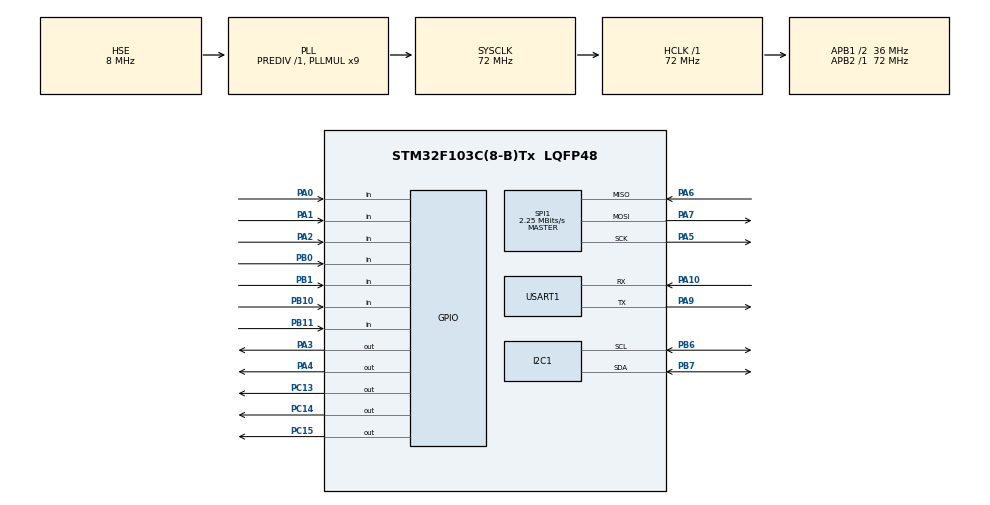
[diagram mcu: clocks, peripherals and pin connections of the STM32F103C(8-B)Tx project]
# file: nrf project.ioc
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I2C1.I2C_Mode=I2C_Standard
Mcu.Family=STM32F1
Mcu.Name=STM32F103C(8-B)Tx
Mcu.Package=LQFP48
NVIC.PriorityGroup=NVIC_PRIORITYGROUP_4
NVIC.USART1_IRQn=true\:0\:0\:false\:false\:true\:true\:true
PA0-WKUP.GPIO_PuPd=GPIO_PULLDOWN
PA0-WKUP.Signal=GPIO_Input
PA1.GPIO_PuPd=GPIO_PULLDOWN
PA1.Signal=GPIO_Input
PA10.Mode=Asynchronous
PA10.Signal=USART1_RX
PA13.Mode=JTAG_4_pins
PA13.Signal=SYS_JTMS-SWDIO
PA14.Mode=JTAG_4_pins
PA14.Signal=SYS_JTCK-SWCLK
PA15.Mode=JTAG_4_pins
PA15.Signal=SYS_JTDI
PA2.GPIO_PuPd=GPIO_PULLDOWN
PA2.Signal=GPIO_Input
PA3.GPIO_PuPd=GPIO_PULLDOWN
PA3.GPIO_Speed=GPIO_SPEED_FREQ_HIGH
PA3.Signal=GPIO_Output
PA4.GPIO_PuPd=GPIO_PULLDOWN
PA4.GPIO_Speed=GPIO_SPEED_FREQ_HIGH
PA4.Signal=GPIO_Output
PA5.Mode=Full_Duplex_Master
PA5.Signal=SPI1_SCK
PA6.Mode=Full_Duplex_Master
PA6.Signal=SPI1_MISO
PA7.Mode=Full_Duplex_Master
PA7.Signal=SPI1_MOSI
PA9.Mode=Asynchronous
PA9.Signal=USART1_TX
PB0.GPIO_PuPd=GPIO_PULLUP
PB0.Signal=GPIO_Input
PB1.GPIO_PuPd=GPIO_PULLUP
PB1.Signal=GPIO_Input
PB10.GPIO_PuPd=GPIO_PULLUP
PB10.Signal=GPIO_Input
PB11.GPIO_PuPd=GPIO_PULLUP
PB11.Signal=GPIO_Input
PB3.Mode=JTAG_4_pins
PB3.Signal=SYS_JTDO-TRACESWO
PB6.Mode=I2C
PB6.Signal=I2C1_SCL
PB7.Mode=I2C
PB7.Signal=I2C1_SDA
PC13-TAMPER-RTC.Signal=GPIO_Output
PC14-OSC32_IN.GPIO_PuPd=GPIO_PULLDOWN
PC14-OSC32_IN.Signal=GPIO_Output
PC15-OSC32_OUT.GPIO_PuPd=GPIO_PULLDOWN
PC15-OSC32_OUT.Signal=GPIO_Output
PD0-OSC_IN.Mode=HSE-External-Oscillator
PD0-OSC_IN.Signal=RCC_OSC_IN
PD1-OSC_OUT.Mode=HSE-External-Oscillator
PD1-OSC_OUT.Signal=RCC_OSC_OUT
ProjectManager.HeapSize=0x200
ProjectManager.StackSize=0x400
ProjectManager.TargetToolchain=MDK-ARM V5.32
RCC.AHBFreq_Value=72000000
RCC.APB1CLKDivider=RCC_HCLK_DIV2
RCC.APB1Freq_Value=36000000
RCC.APB1TimFreq_Value=72000000
RCC.APB2Freq_Value=72000000
RCC.APB2TimFreq_Value=72000000
RCC.HCLKFreq_Value=72000000
RCC.HSICalibrationValue=8
RCC.PLLMUL=RCC_PLL_MUL9
RCC.PLLSourceVirtual=RCC_PLLSOURCE_HSE
RCC.SYSCLKFreq_VALUE=72000000
RCC.SYSCLKSource=RCC_SYSCLKSOURCE_PLLCLK
RCC.USBFreq_Value=72000000
SPI1.BaudRatePrescaler=SPI_BAUDRATEPRESCALER_32
SPI1.CalculateBaudRate=2.25 MBits/s
SPI1.Direction=SPI_DIRECTION_2LINES
SPI1.Mode=SPI_MODE_MASTER
SPI1.VirtualType=VM_MASTER
USART1.VirtualMode=VM_ASYNC
board=custom

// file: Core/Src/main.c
/* USER CODE BEGIN Header */
/**
  ******************************************************************************
  * @file           : main.c
  * @brief          : Main program body
  ******************************************************************************
  * @attention
  *
  * Copyright (c) 2022 STMicroelectronics.
  * All rights reserved.
  *
  * This software is licensed under terms that can be found in the LICENSE file
  * in the root directory of this software component.
  * If no LICENSE file comes with this software, it is provided AS-IS.
  *
  ******************************************************************************
  */
/* USER CODE END Header */
#include "main.h"

/* USER CODE BEGIN Includes */
#include <cstring>
#include "ssd1306.h"
#include "fonts.h"
#include <stdio.h>
#include <stdbool.h>
#include "display.h"
#include "RF24.h"
#include "focusButton.h"
#include "function.h"
#include "main.h"
#include "leftButtonPress.h"
#include "rightButtonPress.h"
/* USER CODE END Includes */

I2C_HandleTypeDef hi2c1;

SPI_HandleTypeDef hspi1;

UART_HandleTypeDef huart1;

void SystemClock_Config(void);
static void MX_GPIO_Init(void);
static void MX_I2C1_Init(void);
static void MX_SPI1_Init(void);
static void MX_USART1_UART_Init(void);
/* USER CODE BEGIN PFP */

int function=0, photoCol=0, pauseTime=0, focusTime=0, total=0;
char rightButtonText[] = "connect";
char leftButtonText[] = "menu";
bool LCDTrue=0, nrfInit=0, pultConnected=0;

const uint64_t pipe1 = 0xE8E8F0F0E2LL;
/* USER CODE END PFP */

/* USER CODE BEGIN 0 */
void workedFunction (int buffer)
{
	function=buffer;
	if (function == 0)
	{
		uartSend ("camera not connected\r\n");
		strcpy(leftButtonText, "menu");
		strcpy(rightButtonText, "focus");
		clearCentralBox();
		centralBoxText("camera not connected", 0, 20);
		ssd1306_UpdateScreen(&hi2c1);
	}
	if (function == 1)
	{
		uartSend ("one shoot mode\r\n");
		strcpy(leftButtonText, "menu");
		strcpy(rightButtonText, "focus");
		clearCentralBox();
		centralBoxText("one shoot mode", 0, 14);
		setFunction(1);
		ssd1306_UpdateScreen(&hi2c1);
	}
	if (function == 2)
	{
		uartSend ("focus\r\n");
		strcpy(leftButtonText, "cancel");
		strcpy(rightButtonText, "shoot");
		centralBoxText("focus", 1, 5);
		setFunction(2);
		ssd1306_UpdateScreen(&hi2c1);
	}
	if (function == 3)
	{
		uartSend ("photo\r\n");
		photoCol++;
		photoCounter(photoCol);
		char local[20];
		sprintf (local, "total photos: %d\r\n", photoCol);
		uartSend (local);
		uartSendInt (photoCol);
		shootButtonIcon(0);
		ssd1306_UpdateScreen(&hi2c1);
		setFunction(3);
	}
	if (function == 10)
	{
		scrollBar(6,0);
		strcpy(leftButtonText, "down");
		strcpy(rightButtonText, "ok");
		leftButtonName(leftButtonText);
		rightButtonName(rightButtonText);
		uartSend ("menu opened\r\n1. one shoot\r\n2. endless\r\n");
		uartSend ("3. limited\r\n4. wireless\r\n5. about\r\n6. back\r\n");
		ssd1306_UpdateScreen(&hi2c1);
	}
	if (function == 11)
	{
		scrollBar(6,1);
		strcpy(leftButtonText, "down");
		strcpy(rightButtonText, "ok");
		leftButtonName(leftButtonText);
		rightButtonName(rightButtonText);
		ssd1306_UpdateScreen(&hi2c1);
	}
	if (function == 12)
	{
		scrollBar(6,2);
		strcpy(leftButtonText, "down");
		strcpy(rightButtonText, "ok");
		leftButtonName(leftButtonText);
		rightButtonName(rightButtonText);
		ssd1306_UpdateScreen(&hi2c1);
	}
	if (function == 13)
	{
		scrollBar(6,3);
		strcpy(leftButtonText, "down");
		strcpy(rightButtonText, "ok");
		leftButtonName(leftButtonText);
		rightButtonName(rightButtonText);
		ssd1306_UpdateScreen(&hi2c1);
	}
	if (function == 14)
	{
		scrollBar(6,4);
		strcpy(leftButtonText, "down");
		strcpy(rightButtonText, "ok");
		leftButtonName(leftButtonText);
		rightButtonName(rightButtonText);
		ssd1306_UpdateScreen(&hi2c1);
	}
	if (function == 15)
	{
		scrollBar(6,5);
		strcpy(leftButtonText, "down");
		strcpy(rightButtonText, "ok");
		leftButtonName(leftButtonText);
		rightButtonName(rightButtonText);
		ssd1306_UpdateScreen(&hi2c1);
	}

	if (function == 20)													//endless start
	{
		scrollBar(1,0);
		photoCounter(photoCol);
		strcpy(leftButtonText, "menu");
		leftButtonName(leftButtonText);
		strcpy(rightButtonText, "settings");
		rightButtonName(rightButtonText);
		clearCentralBox();
		centralBoxText("endless", 0, 7);
		centralBoxText("mode", 1, 4);
		ssd1306_UpdateScreen(&hi2c1);
		strcpy(leftButtonText, "menu");
	}

	if (function == 21)													//endless start
	{
		scrollBar(1,0);
		strcpy(leftButtonText, "up");
		leftButtonName(leftButtonText);
		strcpy(rightButtonText, "ok");
		rightButtonName(rightButtonText);
		centralBoxText("pause time", 0, 10);
		pauseTime=checkingNum(1, 1000);
		centralBoxText("focus time", 0, 10);
		focusTime=checkingNum(1, 500);
		clearCentralBox();
		centralBoxText("start?", 0, 6);
		strcpy(leftButtonText, "no");
		strcpy(rightButtonText, "yes");
		rightButtonName(rightButtonText);
		leftButtonName(leftButtonText);
		ssd1306_UpdateScreen(&hi2c1);
	}

	if (function == 22)
	{
		strcpy(leftButtonText, "cancel");
		leftButtonName(leftButtonText);
		strcpy(rightButtonText, "  ");
		rightButtonName(rightButtonText);
		char buf[11]="pause    0\0";
		int set=pauseTime, i=0;
		while (set>0)
		{
			buf[9-i]=set%10+'0';
			set/=10;
			i++;
		}
		centralBoxText(buf, 0, 10);
		char buf1[11]="focus    0\0";
		set=focusTime;
		i=0;
		while (set>0)
		{
			buf1[9-i]=set%10+'0';
			set/=10;
			i++;
		}
		centralBoxText(buf1, 1, 10);
		ssd1306_UpdateScreen(&hi2c1);
		photoCol+=endlessMode(pauseTime, focusTime, 0);
		setFunction(20);
	}
	if (function == 30)													//limited start
	{
		scrollBar(3,0);
		strcpy(leftButtonText, "menu");
		leftButtonName(leftButtonText);
		strcpy(rightButtonText, "settings");
		rightButtonName(rightButtonText);
		clearCentralBox();
		centralBoxText("limited", 0, 7);
		centralBoxText("mode", 1, 4);
		ssd1306_UpdateScreen(&hi2c1);
		strcpy(leftButtonText, "menu");
	}
	if (function == 31)													//limited start
	{
		scrollBar(1,0);
		strcpy(leftButtonText, "up");
		leftButtonName(leftButtonText);
		strcpy(rightButtonText, "ok");
		rightButtonName(rightButtonText);
		scrollBar(3,0);
		centralBoxText("pause time", 0, 10);
		pauseTime=checkingNum(1, 1000);
		scrollBar(3,1);
		centralBoxText("focus time", 0, 10);
		focusTime=checkingNum(1, 500);
		scrollBar(3,2);
		clearCentralBox();
		centralBoxText("total", 0, 5);
		total=checkingNum(1, 0);
		clearCentralBox();
		centralBoxText("start?", 0, 6);
		strcpy(leftButtonText, "no");
		strcpy(rightButtonText, "yes");
		rightButtonName(rightButtonText);
		leftButtonName(leftButtonText);
		ssd1306_UpdateScreen(&hi2c1);
		if (total==0) setFunction(31);
	}
		if (function == 32)
	{
		strcpy(leftButtonText, "cancel");
		leftButtonName(leftButtonText);
		strcpy(rightButtonText, "  ");
		rightButtonName(rightButtonText);
		clearCentralBox();
		ssd1306_UpdateScreen(&hi2c1);
		photoCol+=endlessMode(pauseTime, focusTime, total);
		setFunction(30);
	}
	if (function == 40)													//wireles start
	{
		strcpy(leftButtonText, "down");
		leftButtonName(leftButtonText);
		strcpy(rightButtonText, "ok");
		rightButtonName(rightButtonText);
		clearCentralBox();
		leftButtonPress(function);
		strcpy(leftButtonText, "down");
		return;
	}
	if (function == 41)
	{
		scrollBar(4+pultConnected,0);
		ssd1306_UpdateScreen(&hi2c1);
		return;
	}
	if (function == 42)
	{
		scrollBar(4+pultConnected,1);
		ssd1306_UpdateScreen(&hi2c1);
		return;
	}
	if (function == 43)
	{
		if (pultConnected) function = 44;
		scrollBar(4+pultConnected,2);
		ssd1306_UpdateScreen(&hi2c1);
		return;
	}
	if (function == 44)
	{
		function=46;
		scrollBar(4+pultConnected,2);
		ssd1306_UpdateScreen(&hi2c1);
		return;
	}
	if (function == 45)
	{
		scrollBar(4+pultConnected,3);
		ssd1306_UpdateScreen(&hi2c1);
		return;
	}
	if (function == 46)
	{
		scrollBar(4+pultConnected,3+pultConnected);
		ssd1306_UpdateScreen(&hi2c1);
		return;
	}
	if (function == 50)
	{
		scrollBar(1,0);
		strcpy(rightButtonText, "  ");
		rightButtonName(rightButtonText);
		strcpy(leftButtonText, "menu");
		leftButtonName(leftButtonText);
		clearCentralBox();
		ssd1306_SetCursor(0,9);
		ssd1306_WriteString("tube adres:", Font_7x10, White);
		ssd1306_SetCursor(0,19);
		char id[15]="0x000000000000";
		hexToAsciiForSend(pipe1, id);
		ssd1306_WriteString(id, Font_7x10, White);
		ssd1306_SetCursor(0,29);
		if (nrfInit) ssd1306_WriteString("NRF24 OK", Font_7x10, White);
		else ssd1306_WriteString("NRF24 NOT OK", Font_7x10, White);
		ssd1306_SetCursor(0,39);
		if (checkPhoto()) ssd1306_WriteString("PHOTO OK", Font_7x10, White);
		else ssd1306_WriteString("PHOTO NOT OK", Font_7x10, White);
		ssd1306_UpdateScreen(&hi2c1);
	}
	if (function == WIRELESSSET*100+1)
	{
		strcpy(rightButtonText, "start");
		rightButtonName(rightButtonText);
		strcpy(leftButtonText, "back");
		leftButtonName(leftButtonText);
		ssd1306_UpdateScreen(&hi2c1);
	}
}

void uartOffSend (uint8_t *buf, int col)
{
	HAL_UART_Transmit(&huart1, buf, col, 0xFFFF);
}

void updateScreen(void)
{
		ssd1306_UpdateScreen(&hi2c1);
}
/* USER CODE END 0 */

int main(void)
{

  /* MCU Configuration--------------------------------------------------------*/

  /* Reset of all peripherals, Initializes the Flash interface and the Systick. */
  HAL_Init();

  /* Configure the system clock */
  SystemClock_Config();

  /* Initialize all configured peripherals */
  MX_GPIO_Init();
  MX_I2C1_Init();
  MX_SPI1_Init();
  MX_USART1_UART_Init();
  /* USER CODE BEGIN 2 */
		HAL_GPIO_WritePin(GPIOC, GPIO_PIN_14, GPIO_PIN_SET);
		HAL_GPIO_WritePin(GPIOC, GPIO_PIN_15, GPIO_PIN_SET);
	HAL_UART_Transmit(&huart1, "Hello world\r\n", 13, 0xFFFF);
	int setter = ssd1306_Init(&hi2c1);
	bool photoStat=0;
	if (setter == 0) {
		HAL_Delay(1000);
		HAL_UART_Transmit(&huart1, "Sucsessfull\r\n", 13, 0xFFFF);
		ssd1306_Fill(Black);
		ssd1306_UpdateScreen(&hi2c1);

		/*HAL_Delay(1000);
		ssd1306_SetCursor(0, 0);
		ssd1306_WriteString("Hello world", Font_11x18, White);
		ssd1306_SetCursor(0, 36);
		ssd1306_WriteString("toxa", Font_11x18, White);
*/
		// Draw rectangle on screen
		/*for (uint8_t i=0; i<28; i++) {
      for (uint8_t j=0; j<64; j++) {
          ssd1306_DrawPixel(100+i, 0+j, White);
      }
		}*/

		// Copy all data from local screenbuffer to the screen

		//ssd1306_UpdateScreen(&hi2c1);
		ssd1306_Clear();
		ssd1306_UpdateScreen(&hi2c1);
		startPage();
		ssd1306_UpdateScreen(&hi2c1);
		HAL_Delay(500);
		ssd1306_Clear();
		startTable();
		ssd1306_UpdateScreen(&hi2c1);
		if (checkPhoto())
		{
			ssd1306_SetCursor(0, 9);
			ssd1306_WriteString("true", Font_11x18, White);
			photoStat = 1;
		}
		else{
			ssd1306_SetCursor(0, 9);
			ssd1306_WriteString("false", Font_11x18, White);
		}

		//инициализация и проверка nrf24

		DWT_Init(); // счётчик для микросекундных пауз

		uint8_t res = isChipConnected(); // проверяет подключён ли модуль к SPI

		char str[64] = {0,};
		snprintf(str, 64, "Connected: %s\n", 1 ? "OK" : "NOT OK");
		ssd1306_SetCursor(0, 9);
		ssd1306_WriteString(str, Font_7x10, White);
		//HAL_UART_Transmit(&huart1, (uint8_t*)str, strlen(str), 1000);

		res = NRF_Init(); // инициализация

		snprintf(str, 64, "Init: %s\n", res > 0 && res < 255 ? "OK" : "NOT OK");
		//HAL_UART_Transmit(&huart1, (uint8_t*)str, strlen(str), 1000);
		ssd1306_SetCursor(0, 19);
		ssd1306_WriteString(str, Font_7x10, White);

		if (res > 0 && res < 255)
		{
			nrfState(true);
			nrfInit=1;
		}
		else nrfState(false);
		ssd1306_UpdateScreen(&hi2c1);
		HAL_Delay(500);
		LCDTrue=1;
	}
	else {

		HAL_UART_Transmit(&huart1, "Fail!!!\r\n", 9, 0xFFFF);
	}

  /* USER CODE END 2 */

  /* Infinite loop */
  /* USER CODE BEGIN WHILE */
	clearCentralBox();
	if (photoStat == 0)
	{
		centralBoxText("camera not connected", 0, 20);
		rightButtonName(rightButtonText);
	}
	else{
		workedFunction(1);
	}
	photoCounter(0);
	ssd1306_UpdateScreen(&hi2c1);
	bool press=0, pressL=0;
  while (1)
  {
		if (!HAL_GPIO_ReadPin(GPIOB, GPIO_PIN_1))
		{
			ssd1306_InvertColors();
			rightButtonName(rightButtonText);
			ssd1306_UpdateScreen(&hi2c1);
			ssd1306_InvertColors();
			press=1;
		}
		if (HAL_GPIO_ReadPin(GPIOB, GPIO_PIN_1))
		{
			rightButtonName(rightButtonText);
			ssd1306_UpdateScreen(&hi2c1);
			if (press)
			{
				press=0;
				rightButtonPress(function);
			}
		}
		if (!HAL_GPIO_ReadPin(GPIOB, GPIO_PIN_0))
		{
			ssd1306_InvertColors();
			leftButtonName(leftButtonText);
			ssd1306_UpdateScreen(&hi2c1);
			ssd1306_InvertColors();
			pressL=1;
		}
		if (HAL_GPIO_ReadPin(GPIOB, GPIO_PIN_0))
		{
			leftButtonName(leftButtonText);
			ssd1306_UpdateScreen(&hi2c1);
			if (pressL)
			{
				pressL=0;
				leftButtonPress(function);
			}
		}
		photoStat = checkPhoto();
		ssd1306_UpdateScreen(&hi2c1);
		if (!press || !pressL) HAL_GPIO_WritePin(GPIOC, GPIO_PIN_13, SET);
		else HAL_GPIO_WritePin(GPIOC, GPIO_PIN_13, RESET);
    /* USER CODE END WHILE */

  }
}

void SystemClock_Config(void)
{
  RCC_OscInitTypeDef RCC_OscInitStruct = {0};
  RCC_ClkInitTypeDef RCC_ClkInitStruct = {0};

  /** Initializes the RCC Oscillators according to the specified parameters
  * in the RCC_OscInitTypeDef structure.
  */
  RCC_OscInitStruct.OscillatorType = RCC_OSCILLATORTYPE_HSE;
  RCC_OscInitStruct.HSEState = RCC_HSE_ON;
  RCC_OscInitStruct.HSEPredivValue = RCC_HSE_PREDIV_DIV1;
  RCC_OscInitStruct.HSIState = RCC_HSI_ON;
  RCC_OscInitStruct.PLL.PLLState = RCC_PLL_ON;
  RCC_OscInitStruct.PLL.PLLSource = RCC_PLLSOURCE_HSE;
  RCC_OscInitStruct.PLL.PLLMUL = RCC_PLL_MUL9;
  if (HAL_RCC_OscConfig(&RCC_OscInitStruct) != HAL_OK)
  {
    Error_Handler();
  }
  /** Initializes the CPU, AHB and APB buses clocks
  */
  RCC_ClkInitStruct.ClockType = RCC_CLOCKTYPE_HCLK|RCC_CLOCKTYPE_SYSCLK
                              |RCC_CLOCKTYPE_PCLK1|RCC_CLOCKTYPE_PCLK2;
  RCC_ClkInitStruct.SYSCLKSource = RCC_SYSCLKSOURCE_PLLCLK;
  RCC_ClkInitStruct.AHBCLKDivider = RCC_SYSCLK_DIV1;
  RCC_ClkInitStruct.APB1CLKDivider = RCC_HCLK_DIV2;
  RCC_ClkInitStruct.APB2CLKDivider = RCC_HCLK_DIV1;

  if (HAL_RCC_ClockConfig(&RCC_ClkInitStruct, FLASH_LATENCY_2) != HAL_OK)
  {
    Error_Handler();
  }
}

static void MX_I2C1_Init(void)
{

  hi2c1.Instance = I2C1;
  hi2c1.Init.ClockSpeed = 100000;
  hi2c1.Init.DutyCycle = I2C_DUTYCYCLE_2;
  hi2c1.Init.OwnAddress1 = 0;
  hi2c1.Init.AddressingMode = I2C_ADDRESSINGMODE_7BIT;
  hi2c1.Init.DualAddressMode = I2C_DUALADDRESS_DISABLE;
  hi2c1.Init.OwnAddress2 = 0;
  hi2c1.Init.GeneralCallMode = I2C_GENERALCALL_DISABLE;
  hi2c1.Init.NoStretchMode = I2C_NOSTRETCH_DISABLE;
  if (HAL_I2C_Init(&hi2c1) != HAL_OK)
  {
    Error_Handler();
  }

}

static void MX_SPI1_Init(void)
{

  /* SPI1 parameter configuration*/
  hspi1.Instance = SPI1;
  hspi1.Init.Mode = SPI_MODE_MASTER;
  hspi1.Init.Direction = SPI_DIRECTION_2LINES;
  hspi1.Init.DataSize = SPI_DATASIZE_8BIT;
  hspi1.Init.CLKPolarity = SPI_POLARITY_LOW;
  hspi1.Init.CLKPhase = SPI_PHASE_1EDGE;
  hspi1.Init.NSS = SPI_NSS_SOFT;
  hspi1.Init.BaudRatePrescaler = SPI_BAUDRATEPRESCALER_32;
  hspi1.Init.FirstBit = SPI_FIRSTBIT_MSB;
  hspi1.Init.TIMode = SPI_TIMODE_DISABLE;
  hspi1.Init.CRCCalculation = SPI_CRCCALCULATION_DISABLE;
  hspi1.Init.CRCPolynomial = 10;
  if (HAL_SPI_Init(&hspi1) != HAL_OK)
  {
    Error_Handler();
  }

}

static void MX_USART1_UART_Init(void)
{

  huart1.Instance = USART1;
  huart1.Init.BaudRate = 115200;
  huart1.Init.WordLength = UART_WORDLENGTH_8B;
  huart1.Init.StopBits = UART_STOPBITS_1;
  huart1.Init.Parity = UART_PARITY_NONE;
  huart1.Init.Mode = UART_MODE_TX_RX;
  huart1.Init.HwFlowCtl = UART_HWCONTROL_NONE;
  huart1.Init.OverSampling = UART_OVERSAMPLING_16;
  if (HAL_UART_Init(&huart1) != HAL_OK)
  {
    Error_Handler();
  }

}

static void MX_GPIO_Init(void)
{
  GPIO_InitTypeDef GPIO_InitStruct = {0};

  /* GPIO Ports Clock Enable */
  __HAL_RCC_GPIOC_CLK_ENABLE();
  __HAL_RCC_GPIOD_CLK_ENABLE();
  __HAL_RCC_GPIOA_CLK_ENABLE();
  __HAL_RCC_GPIOB_CLK_ENABLE();

  /*Configure GPIO pin Output Level */
  HAL_GPIO_WritePin(GPIOC, GPIO_PIN_13|GPIO_PIN_14|GPIO_PIN_15, GPIO_PIN_RESET);

  /*Configure GPIO pin Output Level */
  HAL_GPIO_WritePin(GPIOA, GPIO_PIN_3|GPIO_PIN_4, GPIO_PIN_RESET);

  /*Configure GPIO pin : PC13 */
  GPIO_InitStruct.Pin = GPIO_PIN_13;
  GPIO_InitStruct.Mode = GPIO_MODE_OUTPUT_PP;
  GPIO_InitStruct.Pull = GPIO_NOPULL;
  GPIO_InitStruct.Speed = GPIO_SPEED_FREQ_LOW;
  HAL_GPIO_Init(GPIOC, &GPIO_InitStruct);

  /*Configure GPIO pins : PC14 PC15 */
  GPIO_InitStruct.Pin = GPIO_PIN_14|GPIO_PIN_15;
  GPIO_InitStruct.Mode = GPIO_MODE_OUTPUT_PP;
  GPIO_InitStruct.Pull = GPIO_PULLDOWN;
  GPIO_InitStruct.Speed = GPIO_SPEED_FREQ_LOW;
  HAL_GPIO_Init(GPIOC, &GPIO_InitStruct);

  /*Configure GPIO pins : PA0 PA1 PA2 */
  GPIO_InitStruct.Pin = GPIO_PIN_0|GPIO_PIN_1|GPIO_PIN_2;
  GPIO_InitStruct.Mode = GPIO_MODE_INPUT;
  GPIO_InitStruct.Pull = GPIO_PULLDOWN;
  HAL_GPIO_Init(GPIOA, &GPIO_InitStruct);

  /*Configure GPIO pins : PA3 PA4 */
  GPIO_InitStruct.Pin = GPIO_PIN_3|GPIO_PIN_4;
  GPIO_InitStruct.Mode = GPIO_MODE_OUTPUT_PP;
  GPIO_InitStruct.Pull = GPIO_PULLDOWN;
  GPIO_InitStruct.Speed = GPIO_SPEED_FREQ_HIGH;
  HAL_GPIO_Init(GPIOA, &GPIO_InitStruct);

  /*Configure GPIO pins : PB0 PB1 PB10 PB11 */
  GPIO_InitStruct.Pin = GPIO_PIN_0|GPIO_PIN_1|GPIO_PIN_10|GPIO_PIN_11;
  GPIO_InitStruct.Mode = GPIO_MODE_INPUT;
  GPIO_InitStruct.Pull = GPIO_PULLUP;
  HAL_GPIO_Init(GPIOB, &GPIO_InitStruct);

}

void Error_Handler(void)
{
  __disable_irq();
  while (1)
  {
  }
}
